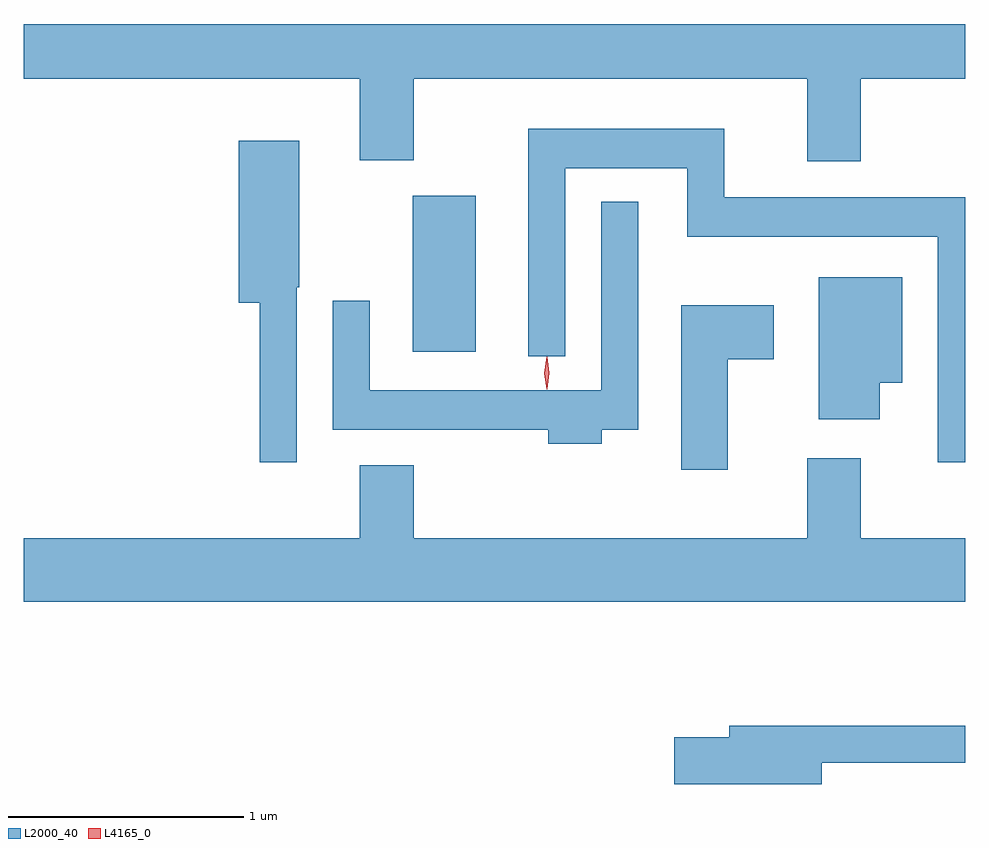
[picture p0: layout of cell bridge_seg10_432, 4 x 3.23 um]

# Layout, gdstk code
import gdstk
lib = gdstk.Library(unit=1e-6, precision=1e-09)
def R(c, l, rs):  # rectangles x0, y0, x1, y1
    for r in rs: c.add(gdstk.rectangle(r[:2], r[2:], *l))
def P(c, l, *ps):  # polygons
    for p in ps: c.add(gdstk.Polygon(p, *l))
L2000_40 = (2000, 40)
L4165_0 = (4165, 0)

bridge_seg10_432 = lib.new_cell('bridge_seg10_432')
R(bridge_seg10_432, L2000_40, [(1424.056,2103.876,1424.324,2104.539)])
P(bridge_seg10_432, L2000_40, [(1425.959,2105.036),(1426.403,2105.036),(1426.403,2105.269),(1422.403,2105.269),(1422.403,2105.036),(1423.831,2105.036),(1423.831,2104.691),(1424.059,2104.691),(1424.059,2105.036),(1425.731,2105.036),(1425.731,2104.686),(1425.959,2104.686)],
  [(1426.403,2104.534),(1425.379,2104.534),(1425.379,2104.824),(1424.546,2104.824),(1424.546,2103.858),(1424.704,2103.858),(1424.704,2104.656),(1425.221,2104.656),(1425.221,2104.366),(1426.286,2104.366),(1426.286,2103.408),(1426.403,2103.408)],
  [(1423.564,2104.15),(1423.574,2104.15),(1423.574,2104.774),(1423.316,2104.774),(1423.316,2104.086),(1423.406,2104.086),(1423.406,2103.408),(1423.564,2103.408)],
  [(1424.859,2103.546),(1425.014,2103.546),(1425.014,2104.513),(1424.856,2104.513),(1424.856,2103.714),(1423.874,2103.714),(1423.874,2104.093),(1423.716,2104.093),(1423.716,2103.546),(1424.631,2103.546),(1424.631,2103.486),(1424.859,2103.486)],
  [(1426.039,2103.746),(1426.134,2103.746),(1426.134,2104.194),(1425.781,2104.194),(1425.781,2103.591),(1426.039,2103.591)],
  [(1425.394,2103.846),(1425.589,2103.846),(1425.589,2104.074),(1425.196,2104.074),(1425.196,2103.376),(1425.394,2103.376)],
  [(1426.403,2103.084),(1425.959,2103.084),(1425.959,2103.424),(1425.731,2103.424),(1425.731,2103.084),(1424.059,2103.084),(1424.059,2103.394),(1423.831,2103.394),(1423.831,2103.084),(1422.403,2103.084),(1422.403,2102.816),(1426.403,2102.816)],
  [(1425.794,2102.131),(1426.403,2102.131),(1426.403,2102.289),(1425.401,2102.289),(1425.401,2102.239),(1425.166,2102.239),(1425.166,2102.041),(1425.794,2102.041)])
P(bridge_seg10_432, L4165_0, [(1424.624,2103.717),(1424.615,2103.786),(1424.624,2103.856),(1424.625,2103.856),(1424.626,2103.856),(1424.635,2103.786),(1424.626,2103.717),(1424.625,2103.717)],
  [(1424.626,2103.72),(1424.626,2103.72),(1424.616,2103.786),(1424.625,2103.852),(1424.626,2103.853),(1424.626,2103.852),(1424.636,2103.786),(1424.626,2103.72)])

lib.write_gds('bridge_seg10_432.gds')
